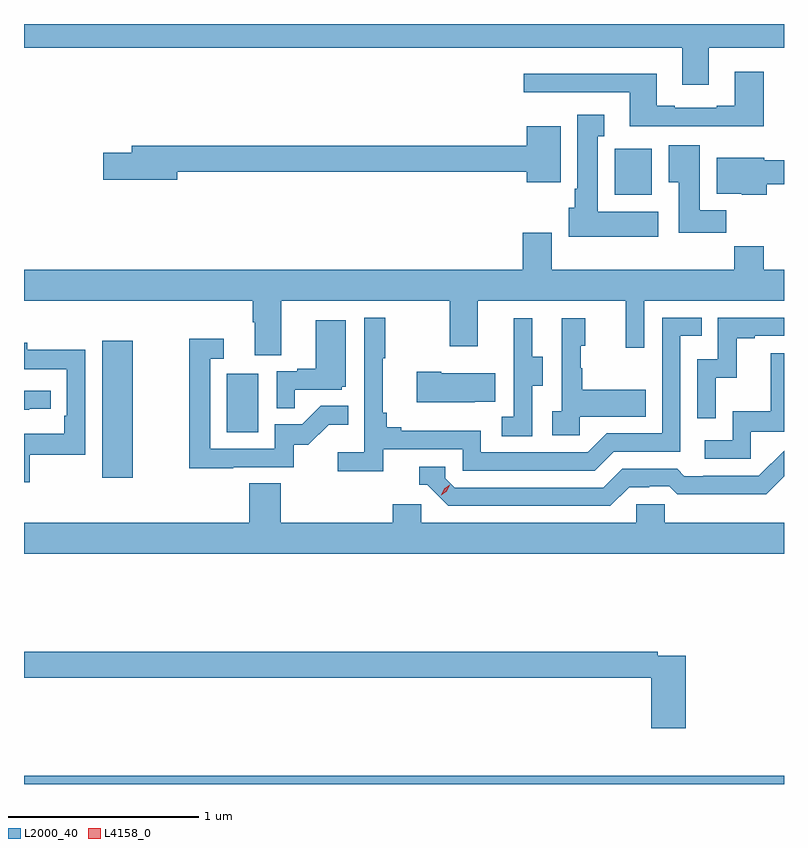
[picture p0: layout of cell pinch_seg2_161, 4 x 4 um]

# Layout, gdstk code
import gdstk
lib = gdstk.Library(unit=1e-6, precision=1e-09)
def R(c, l, rs):  # rectangles x0, y0, x1, y1
    for r in rs: c.add(gdstk.rectangle(r[:2], r[2:], *l))
def P(c, l, *ps):  # polygons
    for p in ps: c.add(gdstk.Polygon(p, *l))
L2000_40 = (2000, 40)
L4158_0 = (4158, 0)

pinch_seg2_161 = lib.new_cell('pinch_seg2_161')
R(pinch_seg2_161, L2000_40, [(1082.222,625.113,1086.222,625.156), (1082.633,626.724,1082.794,627.445), (1083.29,626.964,1083.454,627.271), (1085.33,628.214,1085.527,628.456)])
P(pinch_seg2_161, L2000_40, [(1085.827,628.988),(1086.222,628.988),(1086.222,629.113),(1082.222,629.113),(1082.222,628.988),(1085.687,628.988),(1085.687,628.794),(1085.827,628.794)],
  [(1086.116,628.861),(1085.963,628.861),(1085.963,628.684),(1085.867,628.684),(1085.867,628.671),(1085.647,628.671),(1085.647,628.684),(1085.551,628.684),(1085.551,628.852),(1084.851,628.852),(1084.851,628.755),(1085.411,628.755),(1085.411,628.575),(1085.875,628.575),(1085.875,628.574),(1086.116,628.574)],
  [(1085.56,628.126),(1085.242,628.126),(1085.242,628.523),(1085.275,628.523),(1085.275,628.636),(1085.135,628.636),(1085.135,628.246),(1085.12,628.246),(1085.12,628.146),(1085.09,628.146),(1085.09,627.992),(1085.56,627.992)],
  [(1085.047,628.576),(1084.868,628.576),(1084.868,628.472),(1082.789,628.472),(1082.789,628.436),(1082.64,628.436),(1082.64,628.294),(1083.028,628.294),(1083.028,628.336),(1084.868,628.336),(1084.868,628.28),(1085.047,628.28)],
  [(1085.918,628.132),(1085.779,628.132),(1085.779,628.474),(1085.615,628.474),(1085.615,628.28),(1085.669,628.28),(1085.669,628.014),(1085.918,628.014)],
  [(1086.131,628.269),(1086.222,628.269),(1086.222,628.397),(1086.118,628.397),(1086.118,628.408),(1085.867,628.408),(1085.867,628.22),(1086,628.22),(1086,628.214),(1086.131,628.214)],
  [(1083.577,627.656),(1084.462,627.656),(1084.462,627.417),(1084.609,627.417),(1084.609,627.656),(1085.39,627.656),(1085.39,627.408),(1085.487,627.408),(1085.487,627.656),(1086.222,627.656),(1086.222,627.82),(1086.116,627.82),(1086.116,627.944),(1085.959,627.944),(1085.959,627.82),(1084.999,627.82),(1084.999,628.015),(1084.847,628.015),(1084.847,627.82),(1082.222,627.82),(1082.222,627.656),(1083.425,627.656),(1083.425,627.544),(1083.437,627.544),(1083.437,627.37),(1083.577,627.37)],
  [(1084.112,626.874),(1084.53,626.874),(1084.53,626.763),(1085.227,626.763),(1085.326,626.862),(1085.676,626.862),(1085.676,627.471),(1085.789,627.471),(1085.789,627.567),(1085.58,627.567),(1085.58,626.958),(1085.289,626.958),(1085.19,626.859),(1084.626,626.859),(1084.626,626.971),(1084.207,626.971),(1084.207,626.99),(1084.13,626.99),(1084.13,627.067),(1084.111,627.067),(1084.111,627.355),(1084.123,627.355),(1084.123,627.568),(1084.014,627.568),(1084.014,626.86),(1083.873,626.86),(1083.873,626.758),(1084.112,626.758)],
  [(1085.862,627.251),(1085.972,627.251),(1085.972,627.459),(1086.067,627.459),(1086.067,627.471),(1086.222,627.471),(1086.222,627.567),(1085.874,627.567),(1085.874,627.348),(1085.766,627.348),(1085.766,627.039),(1085.862,627.039)],
  [(1085.148,627.047),(1085.495,627.047),(1085.495,627.187),(1085.161,627.187),(1085.161,627.302),(1085.151,627.302),(1085.151,627.42),(1085.176,627.42),(1085.176,627.565),(1085.052,627.565),(1085.052,627.074),(1085.001,627.074),(1085.001,626.949),(1085.148,626.949)],
  [(1084.896,627.208),(1084.951,627.208),(1084.951,627.363),(1084.897,627.363),(1084.897,627.565),(1084.799,627.565),(1084.799,627.351),(1084.8,627.351),(1084.8,627.047),(1084.737,627.047),(1084.737,626.944),(1084.896,626.944)],
  [(1083.647,627.189),(1083.894,627.189),(1083.894,627.204),(1083.916,627.204),(1083.916,627.553),(1083.758,627.553),(1083.758,627.298),(1083.659,627.298),(1083.659,627.285),(1083.552,627.285),(1083.552,627.091),(1083.647,627.091)],
  [(1083.323,626.781),(1083.642,626.781),(1083.642,626.898),(1083.718,626.898),(1083.825,627.005),(1083.929,627.005),(1083.929,627.104),(1083.785,627.104),(1083.687,627.006),(1083.543,627.006),(1083.543,626.877),(1083.201,626.877),(1083.201,627.351),(1083.274,627.351),(1083.274,627.457),(1083.093,627.457),(1083.093,626.776),(1083.323,626.776)],
  [(1082.251,626.847),(1082.544,626.847),(1082.544,627.398),(1082.239,627.398),(1082.239,627.436),(1082.222,627.436),(1082.222,627.297),(1082.448,627.297),(1082.448,627.052),(1082.435,627.052),(1082.435,626.956),(1082.222,626.956),(1082.222,626.7),(1082.251,626.7)],
  [(1086.048,626.967),(1086.222,626.967),(1086.222,627.379),(1086.151,627.379),(1086.151,627.076),(1085.952,627.076),(1085.952,626.922),(1085.805,626.922),(1085.805,626.826),(1086.048,626.826)],
  [(1084.595,627.125),(1084.703,627.125),(1084.703,627.274),(1084.417,627.274),(1084.417,627.282),(1084.289,627.282),(1084.289,627.122),(1084.595,627.122)],
  [(1082.249,627.087),(1082.362,627.087),(1082.362,627.183),(1082.222,627.183),(1082.222,627.082),(1082.249,627.082)],
  [(1085.407,626.676),(1085.514,626.676),(1085.514,626.679),(1085.617,626.679),(1085.659,626.637),(1085.892,626.637),(1085.892,626.639),(1086.128,626.639),(1086.222,626.733),(1086.222,626.868),(1086.09,626.736),(1085.797,626.736),(1085.797,626.733),(1085.698,626.733),(1085.659,626.772),(1085.37,626.772),(1085.271,626.673),(1084.488,626.673),(1084.44,626.721),(1084.44,626.784),(1084.301,626.784),(1084.301,626.688),(1084.344,626.688),(1084.455,626.577),(1085.308,626.577)],
  [(1086.222,626.488),(1085.595,626.488),(1085.595,626.586),(1085.445,626.586),(1085.445,626.488),(1084.314,626.488),(1084.314,626.586),(1084.163,626.586),(1084.163,626.488),(1083.572,626.488),(1083.572,626.696),(1083.407,626.696),(1083.407,626.488),(1082.222,626.488),(1082.222,626.324),(1086.222,626.324)],
  [(1085.705,625.788),(1085.558,625.788),(1085.558,625.808),(1082.222,625.808),(1082.222,625.672),(1085.522,625.672),(1085.522,625.407),(1085.705,625.407)])
P(pinch_seg2_161, L4158_0, [(1084.417,626.634),(1084.417,626.635),(1084.433,626.668),(1084.464,626.687),(1084.464,626.687),(1084.464,626.687),(1084.448,626.654),(1084.417,626.634)])

lib.write_gds('pinch_seg2_161.gds')
